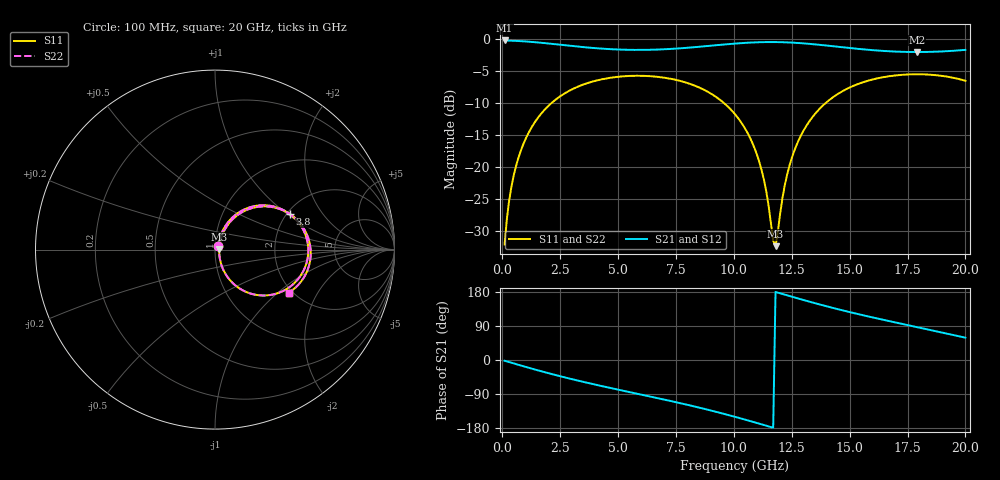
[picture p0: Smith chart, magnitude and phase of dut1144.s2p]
! Touchstone file exported from HFSS 2026.1.0
!  File:  C:/ffzhzh/LocalFiles/Ansys_Project_Files/temp_train_TSV_RDL_1144_1783309738_30076.aedt
!  Generated:  12:01:06 PM Jul  6, 2026
!  Design:  TSV_RDL
!  Project:  temp_train_TSV_RDL_1144_1783309738_30076
! Variables:
!  h_bsmrdl = 4.7um
!  h_ox = 20um
!  h_rdl = 5um
!  h_sub = 99.76um
!  h_tmrdl = 5.15um
!  h_tsv = 99.76um
!  h_via = 3um
!  l_bsmrdl = 862.15um
!  l_sub = 4858.96um
!  l_tmrdl = 435.18um
!  m_sub = 200um
!  pitch = 55.39um
!  r_tsv = 14.98um
!  s_tmrdl = 10um
!  w_bsmrdl = 16.66um
!  w_sub = 500um
!  w_tmrdl = 27.27um
!  x_tsv_center1 = 448.815um
!  x_tsv_center2 = 1327.625um
!  x_tsv_center3 = 1790.075um
!  x_tsv_center4 = 2668.885um
!  x_tsv_center5 = 3131.335um
!  x_tsv_center6 = 4010.145um
# GHz S MA R 50.000000
! Terminal data exported
! Port[1] = TM_RDL1_1_T1
! Port[2] = TM_RDL5_1_T1
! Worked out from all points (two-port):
!   200 points, 100 MHz to 20 GHz, reference 50 ohm
!   highest |S21| = -0.15 dB at 100 MHz (marker M1); lowest = -2.0 dB at 17.9 GHz (marker M2)
!   |S21| within 3 dB of the highest: start of sweep to end of sweep
!   lowest |S11| = -32.4 dB at 11.8 GHz (marker M3), VSWR 1.05, Z = 52.4 + j0.33 ohm
!   |S11| at or under -10 dB: start of sweep to 2.111 GHz; 9.587 GHz to 13.95 GHz (4.364 GHz wide, 37.1 % of centre)
!   |S22| runs from -32.5 to -5.4 dB; largest |S21 - S12| = 1.7e-14
!   S11 on the Smith chart (normalised r, x): 100 MHz: 1.04, +0.04; 3.8 GHz: 2.09, +1.05; 20 GHz: 1.91, -1.18
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0.1  0.0248 44.7  0.9828 -1.9  0.9828 -1.9  0.0248 44.7
! Gamma 0 0 0 0
! Port Impedance 50 0 50 0
0.3  0.05538 64.8  0.98 -5.5  0.98 -5.5  0.05538 64.8
0.5  0.0872 67.9  0.9769 -9.1  0.9769 -9.1  0.0872 67.9
1.1  0.1805 63.6  0.9626 -19.7  0.9626 -19.7  0.1805 63.6
2.1  0.3149 49.3  0.9262 -36.5  0.9262 -36.5  0.3149 49.3
3.5  0.4439 29.3  0.8715 -57.8  0.8715 -57.8  0.4439 29.3
3.8  0.4627 25.2  0.8617 -62.0  0.8617 -62.0  0.4627 25.2
5.3  0.516 5.7  0.8313 -82.2  0.8313 -82.2  0.516 5.7
6.8  0.5076 -13.1  0.8352 -101.8  0.8352 -101.8  0.5076 -13.2
8.6  0.413 -37.0  0.8801 -127.1  0.8801 -127.1  0.4131 -37.0
10.1  0.2531 -58.0  0.9304 -150.8  0.9304 -150.8  0.2531 -58.0
11.1  0.1098 -67.7  0.952 -168.1  0.952 -168.1  0.1098 -67.8
11.4  0.0645 -63.8  0.9546 -173.4  0.9546 -173.4  0.06443 -64.0
11.7  0.02656 -27.4  0.9551 -178.7  0.9551 -178.7  0.02635 -27.6
11.8  0.02404 7.5  0.9547 179.5  0.9547 179.5  0.02381 7.6
12.1  0.0573 58.1  0.9522 174.2  0.9522 174.2  0.0572 58.3
12.4  0.1024 64.0  0.9476 168.9  0.9476 168.9  0.1023 64.1
13.4  0.2473 55.1  0.9197 151.6  0.9197 151.6  0.2473 55.1
14.9  0.412 34.3  0.8615 127.9  0.8615 127.9  0.412 34.3
16.7  0.5152 10.8  0.8087 102.8  0.8087 102.8  0.5153 10.8
17.9  0.5341 -4.0  0.7975 87.1  0.7975 87.1  0.5342 -4.0
20  0.4748 -30.4  0.8292 58.8  0.8292 58.8  0.4749 -30.4
